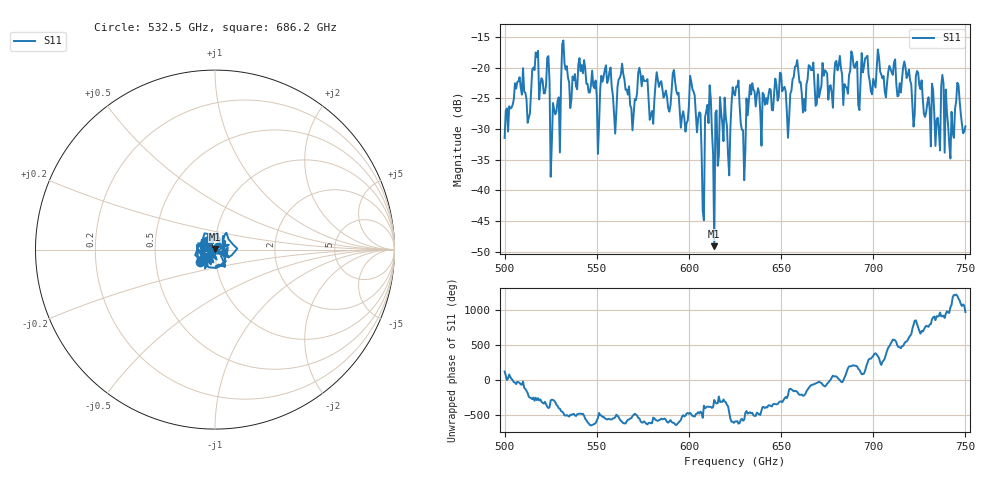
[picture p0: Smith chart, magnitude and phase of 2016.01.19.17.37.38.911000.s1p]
!Created with skrf (http://scikit-rf.org).
# GHz S RI R 50.0
!freq ReS11 ImS11
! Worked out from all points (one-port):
!   401 points, 500 GHz to 750 GHz, reference 50 ohm
!   lowest |S11| = -49.1 dB at 613.8 GHz (marker M1), VSWR 1.01, Z = 50.1 + j0.345 ohm
!   |S11| at or under -10 dB: start of sweep to end of sweep
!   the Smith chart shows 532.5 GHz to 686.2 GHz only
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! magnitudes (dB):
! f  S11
! 500 GHz  -31.5
! 506.9 GHz  -22.4
! 513.1 GHz  -28.1
! 516.9 GHz  -17.5
! 523.1 GHz  -18.4
! 526.2 GHz  -25.8
! 531.2 GHz  -16.2
! 550.6 GHz  -34.0
! 562.5 GHz  -21.7
! 569.4 GHz  -30.2
! 573.8 GHz  -21.1
! 579.4 GHz  -27.6
! 593.8 GHz  -24.4
! 598.1 GHz  -30.4
! 601.9 GHz  -23.5
! 607.5 GHz  -43.3
! 610.6 GHz  -29.1
! 613.8 GHz  -49.1
! 621.9 GHz  -37.5
! 625 GHz  -24.5
! 629.4 GHz  -30.2
! 634.4 GHz  -22.6
! 656.2 GHz  -21.9
! 687.5 GHz  -20.5
! 718.8 GHz  -21.2
! 735 GHz  -28.2
! 738.1 GHz  -22.6
! 750 GHz  -29.6
